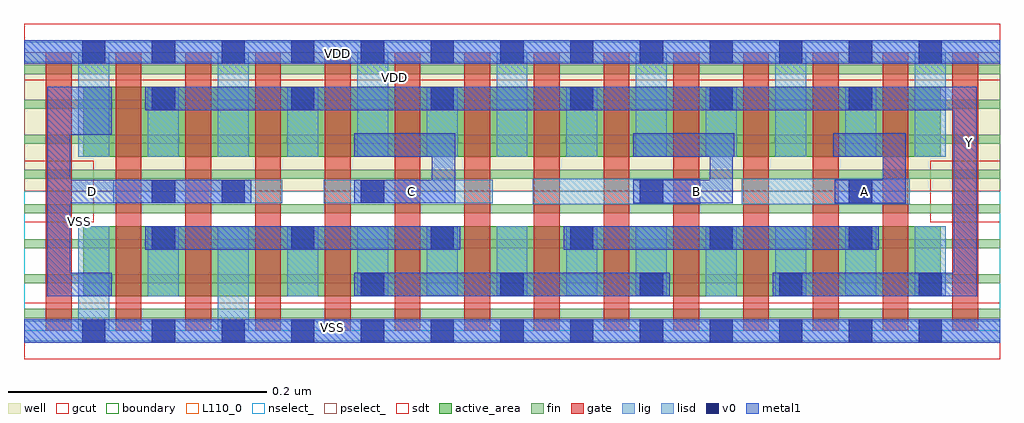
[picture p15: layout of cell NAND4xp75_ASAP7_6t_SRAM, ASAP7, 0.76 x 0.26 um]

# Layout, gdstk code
import gdstk
lib = gdstk.Library(unit=1e-6, precision=2.5e-10)
def R(c, l, rs):  # rectangles x0, y0, x1, y1
    for r in rs: c.add(gdstk.rectangle(r[:2], r[2:], *l))
def A(c, l, x, y, w, h, nx, ny, dx, dy):  # array of equal rectangles
    R(c, l, [(x+i*dx, y+j*dy, x+i*dx+w, y+j*dy+h) for i in range(nx) for j in range(ny)])
def P(c, l, *ps):  # polygons
    for p in ps: c.add(gdstk.Polygon(p, *l))
well = (1, 0)
fin = (2, 0)
gate = (7, 0)
gcut = (10, 0)
active_area = (11, 0)
nselect_ = (12, 0)
pselect_ = (13, 0)
lig = (16, 0)
lisd = (17, 0)
v0 = (18, 0)
metal1 = (19, 0)
sdt = (88, 0)
boundary = (100, 0)
L110_0 = (110, 0)

nand4xp75_asap7_6t_sram = lib.new_cell('NAND4xp75_ASAP7_6t_SRAM')
R(nand4xp75_asap7_6t_sram, well, [(0,0.108,0.756,0.216)])
A(nand4xp75_asap7_6t_sram, fin, 0, 0.01, 0.756, 0.007, 1, 8, 0, 0.027)
A(nand4xp75_asap7_6t_sram, gate, 0.017, 0, 0.02, 0.216, 14, 1, 0.054, 0)
R(nand4xp75_asap7_6t_sram, gcut, [(0,-0.022,0.756,0.022), (0,0.084,0.054,0.132), (0.702,0.084,0.756,0.132), (0,0.194,0.756,0.238)])
R(nand4xp75_asap7_6t_sram, active_area, [(0.046,0.027,0.71,0.081), (0.046,0.135,0.71,0.189)])
R(nand4xp75_asap7_6t_sram, nselect_, [(0,0,0.756,0.108)])
R(nand4xp75_asap7_6t_sram, pselect_, [(0,0.108,0.756,0.216)])
R(nand4xp75_asap7_6t_sram, lig, [(0,-0.008,0.756,0.008), (0.394,0.098,0.524,0.118), (0.556,0.098,0.686,0.118), (0.069,0.099,0.2,0.117), (0.232,0.099,0.363,0.117), (0,0.208,0.756,0.224)])
A(nand4xp75_asap7_6t_sram, lisd, 0.204, 0.027, 0.024, 0.054, 10, 1, 0.054, 0)
A(nand4xp75_asap7_6t_sram, lisd, 0.042, 0.135, 0.024, 0.081, 7, 1, 0.108, 0)
A(nand4xp75_asap7_6t_sram, lisd, 0.096, 0.135, 0.024, 0.054, 6, 1, 0.108, 0)
R(nand4xp75_asap7_6t_sram, lisd, [(0.042,0,0.066,0.081), (0.15,0,0.174,0.081), (0.096,0.027,0.12,0.081)])
A(nand4xp75_asap7_6t_sram, v0, 0.045, -0.009, 0.018, 0.018, 13, 2, 0.054, 0.216)
A(nand4xp75_asap7_6t_sram, v0, 0.261, 0.027, 0.018, 0.018, 5, 1, 0.108, 0)
A(nand4xp75_asap7_6t_sram, v0, 0.099, 0.063, 0.018, 0.018, 6, 2, 0.108, 0.108)
R(nand4xp75_asap7_6t_sram, v0, [(0.099,0.099,0.117,0.117), (0.153,0.099,0.171,0.117), (0.261,0.099,0.279,0.117), (0.477,0.099,0.495,0.117), (0.639,0.099,0.657,0.117)])
R(nand4xp75_asap7_6t_sram, metal1, [(0,-0.009,0.756,0.009), (0.256,0.027,0.5,0.045), (0.094,0.063,0.338,0.081), (0.418,0.063,0.662,0.081), (0,0.207,0.756,0.225)])
P(nand4xp75_asap7_6t_sram, metal1, [(0.738,0.189),(0.094,0.189),(0.094,0.171),(0.72,0.171),(0.72,0.045),(0.58,0.045),(0.58,0.027),(0.738,0.027)],
  [(0.683,0.153),(0.627,0.153),(0.627,0.135),(0.665,0.135),(0.665,0.117),(0.628,0.117),(0.628,0.099),(0.683,0.099)],
  [(0.55,0.153),(0.472,0.153),(0.472,0.135),(0.531,0.135),(0.531,0.117),(0.472,0.117),(0.472,0.099),(0.549,0.099),(0.549,0.135),(0.55,0.135)],
  [(0.334,0.153),(0.256,0.153),(0.256,0.135),(0.316,0.135),(0.316,0.117),(0.256,0.117),(0.256,0.099),(0.334,0.099)],
  [(0.176,0.117),(0.036,0.117),(0.036,0.152),(0.068,0.152),(0.068,0.189),(0.018,0.189),(0.018,0.027),(0.068,0.027),(0.068,0.045),(0.036,0.045),(0.036,0.099),(0.176,0.099)])
A(nand4xp75_asap7_6t_sram, sdt, 0.042, 0.027, 0.024, 0.054, 13, 2, 0.054, 0.108)
R(nand4xp75_asap7_6t_sram, boundary, [(0,0,0.756,0.216), (0,0,0.756,0.216)])
R(nand4xp75_asap7_6t_sram, L110_0, [(0,0,0.756,0.216), (0,0,0.756,0.216)])
nand4xp75_asap7_6t_sram.add(gdstk.Label('Y', (0.732,0.146), layer=19, texttype=251))
nand4xp75_asap7_6t_sram.add(gdstk.Label('D', (0.053,0.108), layer=19, texttype=251))
nand4xp75_asap7_6t_sram.add(gdstk.Label('A', (0.651,0.108), layer=19, texttype=251))
nand4xp75_asap7_6t_sram.add(gdstk.Label('B', (0.521,0.108), layer=19, texttype=251))
nand4xp75_asap7_6t_sram.add(gdstk.Label('C', (0.3,0.108), layer=19, texttype=251))
nand4xp75_asap7_6t_sram.add(gdstk.Label('VSS', (0.239,0.003), layer=19, texttype=251))
nand4xp75_asap7_6t_sram.add(gdstk.Label('VDD', (0.243,0.215), layer=19, texttype=251))
nand4xp75_asap7_6t_sram.add(gdstk.Label('VDD', (0.287,0.196), layer=1, texttype=251))
nand4xp75_asap7_6t_sram.add(gdstk.Label('VSS', (0.043,0.085), layer=3, texttype=251))

lib.write_gds('NAND4xp75_ASAP7_6t_SRAM.gds')
